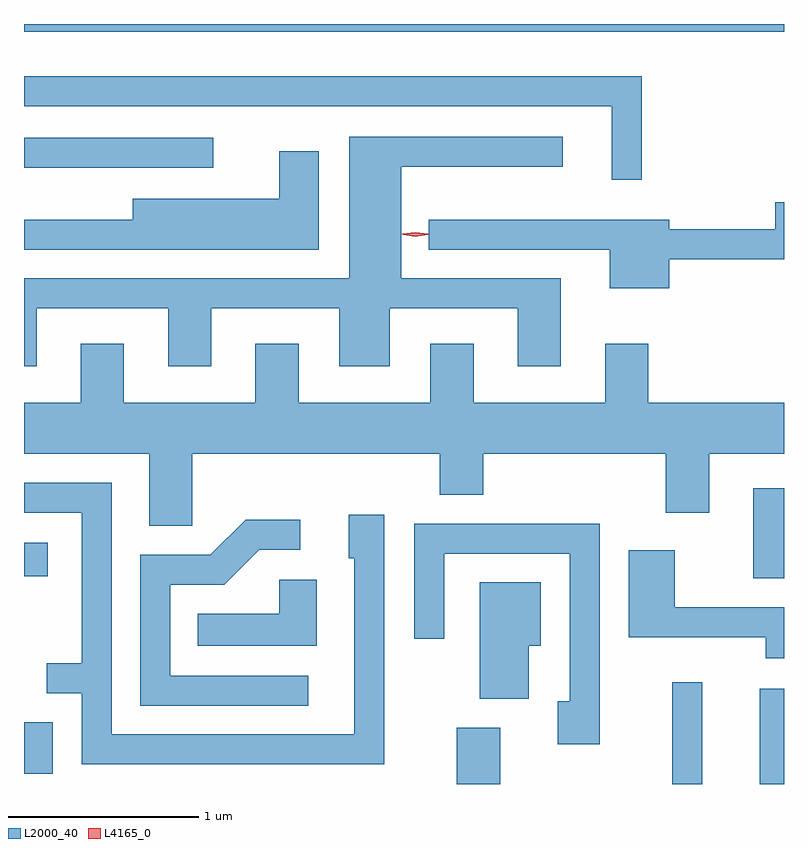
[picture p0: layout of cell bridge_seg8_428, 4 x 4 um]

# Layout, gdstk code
import gdstk
lib = gdstk.Library(unit=1e-6, precision=1e-09)
def R(c, l, rs):  # rectangles x0, y0, x1, y1
    for r in rs: c.add(gdstk.rectangle(r[:2], r[2:], *l))
def P(c, l, *ps):  # polygons
    for p in ps: c.add(gdstk.Polygon(p, *l))
L2000_40 = (2000, 40)
L4165_0 = (4165, 0)

bridge_seg8_428 = lib.new_cell('bridge_seg8_428')
R(bridge_seg8_428, L2000_40, [(983.241,1843.558,983.469,1843.854), (984.376,1843.558,984.534,1844.093), (984.836,1843.558,984.963,1844.059), (980.963,1843.613,981.114,1843.884), (984.801,1844.641,984.963,1845.114), (980.963,1844.651,981.089,1844.829), (980.963,1846.801,981.958,1846.959), (980.963,1847.516,984.963,1847.558)])
P(bridge_seg8_428, L2000_40, [(984.214,1847.284),(980.963,1847.284),(980.963,1847.126),(984.056,1847.126),(984.056,1846.738),(984.214,1846.738)],
  [(981.029,1846.061),(981.721,1846.061),(981.721,1845.756),(981.949,1845.756),(981.949,1846.061),(982.621,1846.061),(982.621,1845.756),(982.889,1845.756),(982.889,1846.061),(983.561,1846.061),(983.561,1845.756),(983.789,1845.756),(983.789,1846.219),(982.949,1846.219),(982.949,1846.806),(983.798,1846.806),(983.798,1846.964),(982.676,1846.964),(982.676,1846.219),(980.963,1846.219),(980.963,1845.756),(981.029,1845.756)],
  [(982.514,1846.889),(982.306,1846.889),(982.306,1846.639),(981.536,1846.639),(981.536,1846.529),(980.963,1846.529),(980.963,1846.371),(982.514,1846.371)],
  [(984.359,1846.321),(984.963,1846.321),(984.963,1846.619),(984.916,1846.619),(984.916,1846.479),(984.359,1846.479),(984.359,1846.529),(983.093,1846.529),(983.093,1846.371),(984.046,1846.371),(984.046,1846.166),(984.359,1846.166)],
  [(981.849,1845.296),(983.151,1845.296),(983.151,1845.081),(983.379,1845.081),(983.379,1845.296),(984.341,1845.296),(984.341,1844.986),(984.569,1844.986),(984.569,1845.296),(984.963,1845.296),(984.963,1845.564),(984.249,1845.564),(984.249,1845.874),(984.021,1845.874),(984.021,1845.564),(983.329,1845.564),(983.329,1845.874),(983.101,1845.874),(983.101,1845.564),(982.409,1845.564),(982.409,1845.874),(982.181,1845.874),(982.181,1845.564),(981.489,1845.564),(981.489,1845.874),(981.261,1845.874),(981.261,1845.564),(980.963,1845.564),(980.963,1845.296),(981.621,1845.296),(981.621,1844.916),(981.849,1844.916)],
  [(982.859,1844.974),(982.671,1844.974),(982.671,1844.746),(982.701,1844.746),(982.701,1843.819),(981.424,1843.819),(981.424,1845.144),(980.963,1845.144),(980.963,1844.986),(981.266,1844.986),(981.266,1844.194),(981.083,1844.194),(981.083,1844.036),(981.266,1844.036),(981.266,1843.661),(982.859,1843.661)],
  [(982.458,1844.129),(981.734,1844.129),(981.734,1844.606),(982.017,1844.606),(982.202,1844.791),(982.418,1844.791),(982.418,1844.949),(982.129,1844.949),(981.944,1844.764),(981.576,1844.764),(981.576,1843.971),(982.458,1843.971)],
  [(983.994,1844.929),(983.016,1844.929),(983.016,1844.323),(983.174,1844.323),(983.174,1844.771),(983.836,1844.771),(983.836,1843.994),(983.771,1843.994),(983.771,1843.766),(983.994,1843.766)],
  [(984.963,1844.489),(984.389,1844.489),(984.389,1844.789),(984.146,1844.789),(984.146,1844.331),(984.866,1844.331),(984.866,1844.221),(984.963,1844.221)],
  [(982.504,1844.634),(982.306,1844.634),(982.306,1844.454),(981.878,1844.454),(981.878,1844.286),(982.504,1844.286)],
  [(983.619,1844.286),(983.684,1844.286),(983.684,1844.619),(983.361,1844.619),(983.361,1844.006),(983.619,1844.006)])
P(bridge_seg8_428, L4165_0, [(983.022,1846.443),(982.954,1846.452),(982.953,1846.453),(982.954,1846.453),(983.022,1846.463),(983.09,1846.453),(983.091,1846.453),(983.09,1846.452)],
  [(983.022,1846.439),(982.958,1846.448),(982.957,1846.449),(982.958,1846.449),(983.022,1846.459),(983.087,1846.449),(983.087,1846.449),(983.087,1846.448)])

lib.write_gds('bridge_seg8_428.gds')
